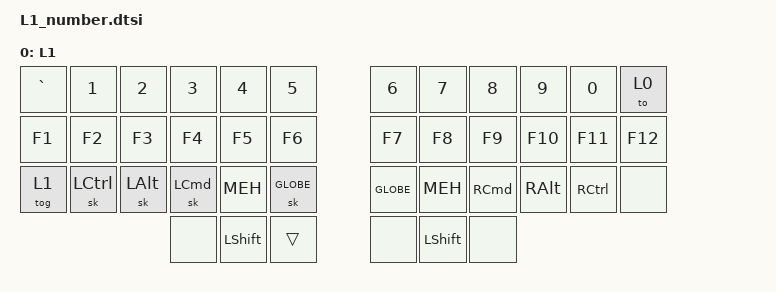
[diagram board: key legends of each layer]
//Key 24 with problems, toogle


/ {
  keymap {
    compatible = "zmk,keymap";

    l1_number {
      label = "L1";
      bindings = <
//  ╭────────────────┬────────────────┬────────────────┬────────────────┬────────────────┬────────────────╮    ╭────────────────┬────────────────┬────────────────┬────────────────┬────────────────┬────────────────╮
//  │0               │1               │2               │3               │4               │5               │    │6               │7               │8               │9               │10              │11              │
     &kp GRAVE        &kp N1           &kp N2           &kp N3           &kp N4           &kp N5                &kp N6           &kp N7           &kp N8           &kp N9           &kp N0           &to L0
//  ├────────────────┼────────────────┼────────────────┼────────────────┼────────────────┼────────────────┤    ├────────────────┼────────────────┼────────────────┼────────────────┼────────────────┼────────────────┤
//  │12              │13              │14              │15              │16              │17              │    │18              │19              │20              │21              │22              │23              │
     &kp F1           &kp F2           &kp F3           &kp F4           &kp F5           &kp F6                &kp F7           &kp F8           &kp F9           &kp F10          &kp F11          &kp F12
//  ├────────────────┼────────────────┼────────────────┼────────────────┼────────────────┼────────────────┤    ├────────────────┼────────────────┼────────────────┼────────────────┼────────────────┼────────────────┤
//  │24              │25              │26              │27              │28              │29              │    │30              │31              │32              │33              │34              │35              │
     &tog L1          &sk LCTRL        &sk LALT         &sk LCMD         &kp MEH          &sk GLOBE             &kp GLOBE        &kp MEH          &kp RCMD         &kp RALT         &kp RCTRL        &none
//  ╰────────────────┴────────────────┴────────────────┼────────────────┼────────────────┼────────────────┤    ├────────────────┼────────────────┼────────────────┼────────────────┴────────────────┴────────────────╯
//                                                     │36              │37              │38              │    │39              │40              │41              │
                                                        &none            &kp LSHIFT       &trans                &none            &kp LSHIFT       &none
//                                                     ╰────────────────┴────────────────┴────────────────╯    ╰────────────────┴────────────────┴────────────────╯
      >;
    };
  };
};
